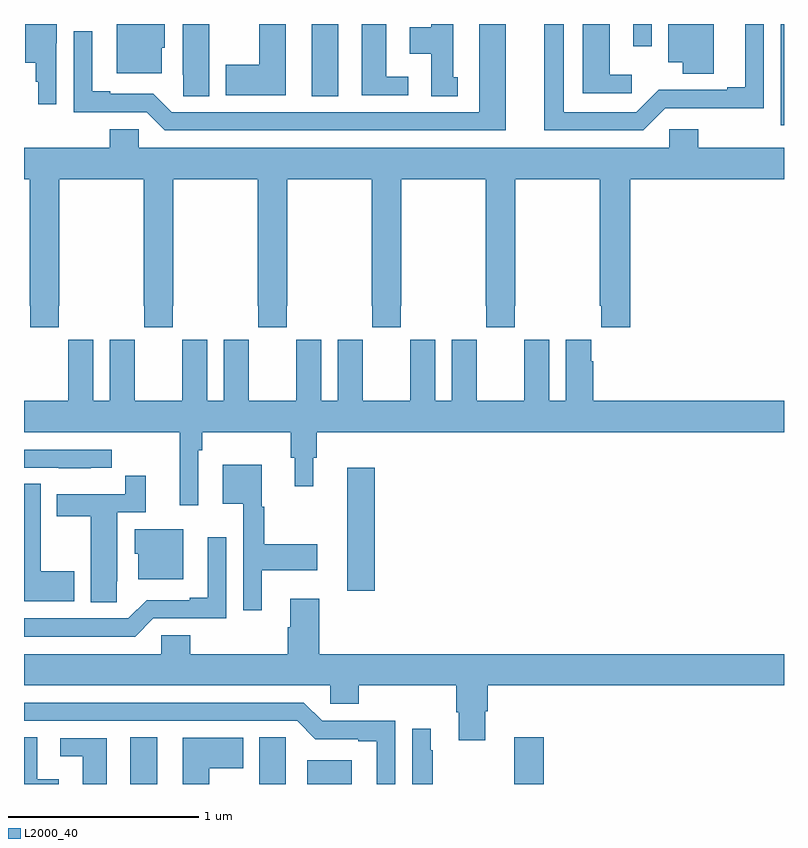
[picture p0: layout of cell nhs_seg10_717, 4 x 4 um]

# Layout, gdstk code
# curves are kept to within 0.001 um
import gdstk
lib = gdstk.Library(unit=1e-6, precision=1e-09)
def R(c, l, rs):  # rectangles x0, y0, x1, y1
    for r in rs: c.add(gdstk.rectangle(r[:2], r[2:], *l))
def P(c, l, *ps):  # polygons
    for p in ps: c.add(gdstk.Polygon(p, *l))
L2000_40 = (2000, 40)

nhs_seg10_717 = lib.new_cell('nhs_seg10_717')
R(nhs_seg10_717, L2000_40, [(147.56,1262.5,147.7,1262.747), (148.49,1262.5,148.726,1262.626), (149.581,1262.5,149.735,1262.746), (148.7,1263.516,148.847,1264.165), (150.984,1265.967,151,1266.5), (148.514,1266.121,148.654,1266.5), (150.207,1266.384,150.303,1266.5)])
P(nhs_seg10_717, L2000_40, [(147.171,1266.4),(147.172,1266.4),(147.172,1266.5),(147.007,1266.5),(147.007,1266.296),(147.063,1266.296),(147.063,1266.195),(147.074,1266.195),(147.074,1266.078),(147.171,1266.078)],
  [(147.724,1266.375),(147.742,1266.375),(147.742,1266.5),(147.488,1266.5),(147.488,1266.242),(147.724,1266.242)],
  [(149.023,1266.222),(148.906,1266.222),(148.906,1266.5),(148.778,1266.5),(148.778,1266.126),(149.023,1266.126)],
  [(149.536,1266.5),(149.396,1266.5),(149.396,1266.036),(147.777,1266.036),(147.681,1266.132),(147.454,1266.132),(147.454,1266.145),(147.358,1266.145),(147.358,1266.463),(147.261,1266.463),(147.261,1266.036),(147.645,1266.036),(147.741,1265.94),(149.536,1265.94)],
  [(150.631,1266.5),(150.392,1266.5),(150.392,1266.299),(150.467,1266.299),(150.467,1266.238),(150.631,1266.238)],
  [(147.976,1266.5),(147.836,1266.5),(147.836,1266.232),(147.837,1266.232),(147.837,1266.121),(147.976,1266.121)],
  [(149.284,1266.219),(149.26,1266.219),(149.26,1266.5),(149.144,1266.5),(149.144,1266.484),(149.03,1266.484),(149.03,1266.344),(149.144,1266.344),(149.144,1266.121),(149.284,1266.121)],
  [(148.378,1266.5),(148.238,1266.5),(148.238,1266.285),(148.061,1266.285),(148.061,1266.125),(148.378,1266.125)],
  [(150.375,1266.057),(150.894,1266.056),(150.894,1266.5),(150.797,1266.5),(150.797,1266.166),(150.701,1266.166),(150.701,1266.153),(150.34,1266.154),(150.222,1266.036),(149.842,1266.036),(149.842,1266.5),(149.738,1266.5),(149.738,1265.94),(150.258,1265.94)],
  [(150.199,1266.232),(150.082,1266.232),(150.082,1266.5),(149.942,1266.5),(149.942,1266.135),(150.199,1266.135)],
  [(147.603,1265.946),(147.452,1265.946),(147.452,1265.848),(147,1265.848),(147,1265.684),(147.031,1265.684),(147.031,1265.017),(147.033,1265.017),(147.033,1264.905),(147.183,1264.905),(147.183,1265.017),(147.186,1265.017),(147.186,1265.684),(147.631,1265.684),(147.631,1265.017),(147.633,1265.017),(147.633,1264.905),(147.783,1264.905),(147.783,1265.017),(147.786,1265.017),(147.786,1265.684),(148.231,1265.684),(148.231,1265.017),(148.233,1265.017),(148.233,1264.905),(148.383,1264.905),(148.383,1265.017),(148.386,1265.017),(148.386,1265.684),(148.831,1265.684),(148.831,1265.017),(148.833,1265.017),(148.833,1264.905),(148.983,1264.905),(148.983,1265.017),(148.986,1265.017),(148.986,1265.684),(149.431,1265.684),(149.431,1265.017),(149.433,1265.017),(149.433,1264.905),(149.583,1264.905),(149.583,1265.017),(149.586,1265.017),(149.586,1265.684),(150.031,1265.684),(150.031,1265.017),(150.037,1265.017),(150.037,1264.905),(150.191,1264.905),(150.191,1265.684),(151,1265.684),(151,1265.848),(150.548,1265.848),(150.548,1265.946),(150.396,1265.946),(150.396,1265.848),(147.603,1265.848)],
  [(148.405,1264.218),(148.424,1264.218),(148.424,1264.068),(148.522,1264.068),(148.522,1264.218),(148.541,1264.218),(148.541,1264.352),(151,1264.352),(151,1264.516),(149.996,1264.516),(149.996,1264.724),(149.986,1264.724),(149.986,1264.837),(149.852,1264.837),(149.852,1264.516),(149.764,1264.516),(149.764,1264.837),(149.634,1264.837),(149.634,1264.724),(149.633,1264.724),(149.633,1264.516),(149.383,1264.516),(149.383,1264.724),(149.382,1264.724),(149.382,1264.837),(149.252,1264.837),(149.252,1264.516),(149.164,1264.516),(149.164,1264.837),(149.034,1264.837),(149.034,1264.724),(149.033,1264.724),(149.033,1264.516),(148.783,1264.516),(148.783,1264.724),(148.782,1264.724),(148.782,1264.837),(148.652,1264.837),(148.652,1264.516),(148.564,1264.516),(148.564,1264.837),(148.434,1264.837),(148.434,1264.724),(148.433,1264.724),(148.433,1264.516),(148.183,1264.516),(148.183,1264.724),(148.182,1264.724),(148.182,1264.837),(148.052,1264.837),(148.052,1264.516),(147.964,1264.516),(147.964,1264.837),(147.834,1264.837),(147.834,1264.724),(147.833,1264.724),(147.833,1264.516),(147.583,1264.516),(147.583,1264.724),(147.582,1264.724),(147.582,1264.837),(147.452,1264.837),(147.452,1264.516),(147.364,1264.516),(147.364,1264.837),(147.234,1264.837),(147.234,1264.724),(147.233,1264.724),(147.233,1264.516),(147,1264.516),(147,1264.352),(147.821,1264.352),(147.821,1263.966),(147.918,1263.966),(147.918,1264.256),(147.938,1264.256),(147.938,1264.352),(148.405,1264.352)],
  [(147.35,1264.164),(147.463,1264.164),(147.463,1264.26),(147,1264.26),(147,1264.164),(147.184,1264.164),(147.184,1264.163),(147.35,1264.163)],
  [(148.252,1263.626),(148.543,1263.626),(148.543,1263.761),(148.264,1263.761),(148.264,1263.96),(148.252,1263.96),(148.252,1264.18),(148.046,1264.18),(148.046,1263.974),(148.155,1263.974),(148.155,1263.414),(148.252,1263.414)],
  [(147.489,1263.568),(147.49,1263.568),(147.49,1263.93),(147.641,1263.93),(147.641,1264.123),(147.532,1264.123),(147.532,1264.026),(147.173,1264.026),(147.173,1263.91),(147.35,1263.91),(147.35,1263.457),(147.489,1263.457)],
  [(147.265,1263.621),(147.088,1263.621),(147.088,1264.079),(147,1264.079),(147,1263.461),(147.265,1263.461)],
  [(147.838,1263.841),(147.584,1263.841),(147.584,1263.711),(147.602,1263.711),(147.602,1263.578),(147.838,1263.578)],
  [(147.681,1263.372),(148.065,1263.372),(148.065,1263.799),(147.968,1263.799),(147.968,1263.481),(147.872,1263.481),(147.872,1263.468),(147.645,1263.468),(147.549,1263.372),(147,1263.372),(147,1263.276),(147.585,1263.276)],
  [(149.428,1262.883),(149.441,1262.883),(149.441,1263.02),(151,1263.02),(151,1263.184),(148.553,1263.184),(148.553,1263.475),(148.4,1263.475),(148.4,1263.326),(148.388,1263.326),(148.388,1263.184),(147.875,1263.184),(147.875,1263.282),(147.723,1263.282),(147.723,1263.184),(147,1263.184),(147,1263.02),(148.611,1263.02),(148.611,1262.922),(148.763,1262.922),(148.763,1263.02),(149.276,1263.02),(149.276,1262.878),(149.288,1262.878),(149.288,1262.73),(149.428,1262.73)],
  [(148.953,1262.832),(148.569,1262.832),(148.473,1262.928),(147,1262.928),(147,1262.832),(148.437,1262.832),(148.533,1262.736),(148.76,1262.736),(148.76,1262.724),(148.856,1262.724),(148.856,1262.5),(148.953,1262.5)],
  [(149.152,1262.678),(149.14,1262.678),(149.14,1262.791),(149.043,1262.791),(149.043,1262.5),(149.152,1262.5)],
  [(147.184,1262.524),(147.07,1262.524),(147.07,1262.747),(147,1262.747),(147,1262.5),(147.184,1262.5)],
  [(148.378,1262.636),(148.377,1262.636),(148.377,1262.747),(148.238,1262.747),(148.238,1262.5),(148.378,1262.5)],
  [(147.976,1262.584),(148.153,1262.584),(148.153,1262.743),(147.836,1262.743),(147.836,1262.5),(147.976,1262.5)],
  [(147.436,1262.742),(147.192,1262.742),(147.192,1262.646),(147.308,1262.646),(147.308,1262.5),(147.436,1262.5)])

lib.write_gds('nhs_seg10_717.gds')
